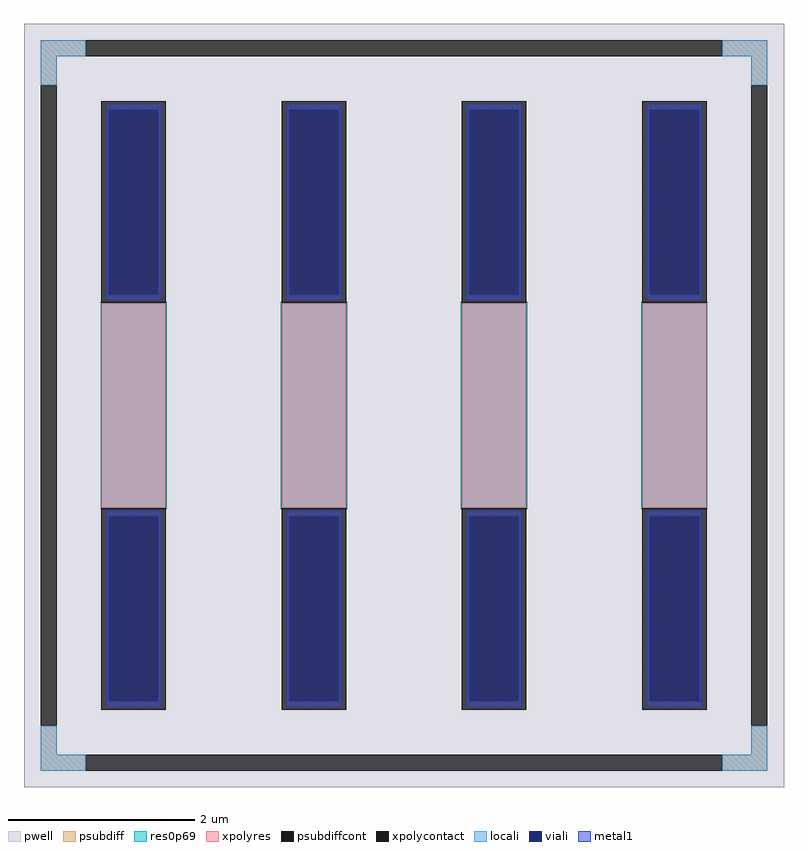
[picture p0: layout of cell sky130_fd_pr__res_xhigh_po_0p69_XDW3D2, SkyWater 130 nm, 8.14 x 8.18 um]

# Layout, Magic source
magic
tech sky130A
magscale 1 2
<< pwell >>
rect -814 -818 814 818
<< psubdiff >>
rect -778 748 -682 782
rect 682 748 778 782
rect -778 686 -744 748
rect 744 686 778 748
rect -778 -748 -744 -686
rect 744 -748 778 -686
rect -778 -782 -682 -748
rect 682 -782 778 -748
<< psubdiffcont >>
rect -682 748 682 782
rect -778 -686 -744 686
rect 744 -686 778 686
rect -682 -782 682 -748
<< xpolycontact >>
rect -648 220 -510 652
rect -648 -652 -510 -220
rect -262 220 -124 652
rect -262 -652 -124 -220
rect 124 220 262 652
rect 124 -652 262 -220
rect 510 220 648 652
rect 510 -652 648 -220
<< xpolyres >>
rect -648 -220 -510 220
rect -262 -220 -124 220
rect 124 -220 262 220
rect 510 -220 648 220
<< locali >>
rect -778 748 -682 782
rect 682 748 778 782
rect -778 686 -744 748
rect 744 686 778 748
rect -778 -748 -744 -686
rect 744 -748 778 -686
rect -778 -782 -682 -748
rect 682 -782 778 -748
<< viali >>
rect -632 237 -526 634
rect -246 237 -140 634
rect 140 237 246 634
rect 526 237 632 634
rect -632 -634 -526 -237
rect -246 -634 -140 -237
rect 140 -634 246 -237
rect 526 -634 632 -237
<< metal1 >>
rect -638 634 -520 646
rect -638 237 -632 634
rect -526 237 -520 634
rect -638 225 -520 237
rect -252 634 -134 646
rect -252 237 -246 634
rect -140 237 -134 634
rect -252 225 -134 237
rect 134 634 252 646
rect 134 237 140 634
rect 246 237 252 634
rect 134 225 252 237
rect 520 634 638 646
rect 520 237 526 634
rect 632 237 638 634
rect 520 225 638 237
rect -638 -237 -520 -225
rect -638 -634 -632 -237
rect -526 -634 -520 -237
rect -638 -646 -520 -634
rect -252 -237 -134 -225
rect -252 -634 -246 -237
rect -140 -634 -134 -237
rect -252 -646 -134 -634
rect 134 -237 252 -225
rect 134 -634 140 -237
rect 246 -634 252 -237
rect 134 -646 252 -634
rect 520 -237 638 -225
rect 520 -634 526 -237
rect 632 -634 638 -237
rect 520 -646 638 -634
<< res0p69 >>
rect -650 -222 -508 222
rect -264 -222 -122 222
rect 122 -222 264 222
rect 508 -222 650 222
<< properties >>
string FIXED_BBOX -761 -765 761 765
string gencell sky130_fd_pr__res_xhigh_po_0p69
string library sky130
string parameters w 0.690 l 2.2 m 1 nx 4 wmin 0.690 lmin 0.50 rho 2000 val 6.922k dummy 0 dw 0.0 term 188.2 sterm 0.0 caplen 0 wmax 0.690 guard 1 glc 1 grc 1 gtc 1 gbc 1 compatible {sky130_fd_pr__res_xhigh_po_0p35  sky130_fd_pr__res_xhigh_po_0p69 sky130_fd_pr__res_xhigh_po_1p41  sky130_fd_pr__res_xhigh_po_2p85 sky130_fd_pr__res_xhigh_po_5p73} full_metal 1 n_guard 0 hv_guard 0 vias 1 viagb 0 viagt 0 viagl 0 viagr 0
<< end >>
